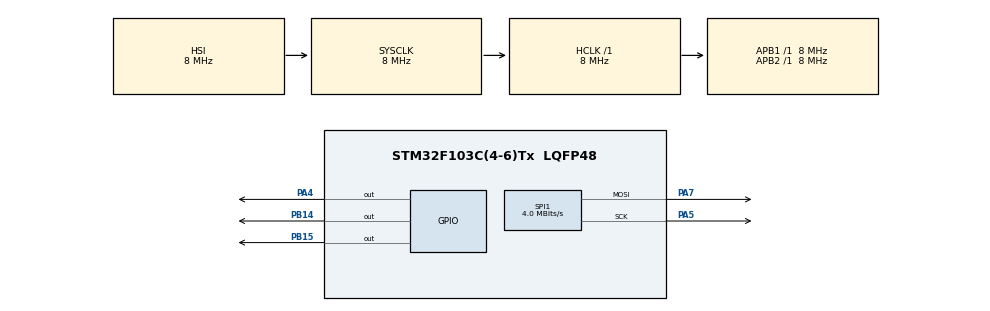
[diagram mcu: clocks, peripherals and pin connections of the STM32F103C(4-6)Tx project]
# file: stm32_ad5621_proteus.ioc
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Mcu.Family=STM32F1
Mcu.Name=STM32F103C(4-6)Tx
Mcu.Package=LQFP48
NVIC.PriorityGroup=NVIC_PRIORITYGROUP_4
PA13.Mode=Serial_Wire
PA13.Signal=SYS_JTMS-SWDIO
PA14.Mode=Serial_Wire
PA14.Signal=SYS_JTCK-SWCLK
PA4.Signal=GPIO_Output
PA5.Mode=TX_Only_Simplex_Unidirect_Master
PA5.Signal=SPI1_SCK
PA7.Mode=TX_Only_Simplex_Unidirect_Master
PA7.Signal=SPI1_MOSI
PB14.Signal=GPIO_Output
PB15.Signal=GPIO_Output
PD0-OSC_IN.Mode=HSE-External-Oscillator
PD0-OSC_IN.Signal=RCC_OSC_IN
PD1-OSC_OUT.Mode=HSE-External-Oscillator
PD1-OSC_OUT.Signal=RCC_OSC_OUT
ProjectManager.HeapSize=0x200
ProjectManager.StackSize=0x400
ProjectManager.TargetToolchain=STM32CubeIDE
RCC.AHBFreq_Value=8000000
RCC.APB1Freq_Value=8000000
RCC.APB1TimFreq_Value=8000000
RCC.APB2Freq_Value=8000000
RCC.APB2TimFreq_Value=8000000
RCC.HCLKFreq_Value=8000000
RCC.SYSCLKFreq_VALUE=8000000
RCC.USBFreq_Value=8000000
SPI1.BaudRatePrescaler=SPI_BAUDRATEPRESCALER_2
SPI1.CalculateBaudRate=4.0 MBits/s
SPI1.DataSize=SPI_DATASIZE_16BIT
SPI1.Direction=SPI_DIRECTION_2LINES
SPI1.Mode=SPI_MODE_MASTER
SPI1.VirtualType=VM_MASTER
board=custom

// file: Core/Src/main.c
/* USER CODE BEGIN Header */
/**
  ******************************************************************************
  * @file           : main.c
  * @brief          : Main program body
  ******************************************************************************
  * @attention
  *
  * Copyright (c) 2024 STMicroelectronics.
  * All rights reserved.
  *
  * This software is licensed under terms that can be found in the LICENSE file
  * in the root directory of this software component.
  * If no LICENSE file comes with this software, it is provided AS-IS.
  *
  ******************************************************************************
  */
/* USER CODE END Header */
#include "main.h"

/* USER CODE BEGIN Includes */

#include "AD5621.h"
#include "math.h"

communication_status_e status_AD5621;
uint16_t DAC_data;

#define DAC_RESOLUTION 4095
#define SINE_POINTS 360

uint16_t sine_points[SINE_POINTS];
float radian_value;
uint16_t points = SINE_POINTS;

/* USER CODE END Includes */

SPI_HandleTypeDef hspi1;

void SystemClock_Config(void);
static void MX_GPIO_Init(void);
static void MX_SPI1_Init(void);

int main(void)
{

  /* MCU Configuration--------------------------------------------------------*/

  /* Reset of all peripherals, Initializes the Flash interface and the Systick. */
  HAL_Init();

  /* Configure the system clock */
  SystemClock_Config();

  /* Initialize all configured peripherals */
  MX_GPIO_Init();
  MX_SPI1_Init();
  /* USER CODE BEGIN 2 */

  status_AD5621 = checkCommunication_AD5621(&hspi1);

  if(status_AD5621)
  {
	  HAL_GPIO_WritePin(GPIOB,GPIO_PIN_15,GPIO_PIN_SET);
  }

  for (int i = 0; i < points; i++)
  {
      radian_value = (float)i * 2.0f * M_PI / (float)points;
      sine_points[i] = (uint16_t)round(((sinf(radian_value) + 1.0f) / 2.0f) * DAC_RESOLUTION);
  }

  /* USER CODE END 2 */

  /* Infinite loop */
  while (1)
  {

    /* USER CODE BEGIN 3 */
//	  DAC_data = 0xFFF << 2;
//	  SPI_Write_AD5621(&hspi1, DAC_data);
//	  HAL_Delay(4000);
//
//	  DAC_data = DAC_data / 2;
//	  SPI_Write_AD5621(&hspi1, DAC_data);
//	  HAL_Delay(4000);
//
//	  DAC_data = 0x00 << 2;
//	  SPI_Write_AD5621(&hspi1, DAC_data);
//	  HAL_Delay(4000);

	  for(int i = 0;i < 360;i++)
	  {
		  SPI_Write_AD5621(&hspi1, sine_points[i]);
		  HAL_Delay(1);
	  }

  }
  /* USER CODE END 3 */
}

void SystemClock_Config(void)
{
  RCC_OscInitTypeDef RCC_OscInitStruct = {0};
  RCC_ClkInitTypeDef RCC_ClkInitStruct = {0};

  /** Initializes the RCC Oscillators according to the specified parameters
  * in the RCC_OscInitTypeDef structure.
  */
  RCC_OscInitStruct.OscillatorType = RCC_OSCILLATORTYPE_HSI;
  RCC_OscInitStruct.HSIState = RCC_HSI_ON;
  RCC_OscInitStruct.HSICalibrationValue = RCC_HSICALIBRATION_DEFAULT;
  RCC_OscInitStruct.PLL.PLLState = RCC_PLL_NONE;
  if (HAL_RCC_OscConfig(&RCC_OscInitStruct) != HAL_OK)
  {
    Error_Handler();
  }

  /** Initializes the CPU, AHB and APB buses clocks
  */
  RCC_ClkInitStruct.ClockType = RCC_CLOCKTYPE_HCLK|RCC_CLOCKTYPE_SYSCLK
                              |RCC_CLOCKTYPE_PCLK1|RCC_CLOCKTYPE_PCLK2;
  RCC_ClkInitStruct.SYSCLKSource = RCC_SYSCLKSOURCE_HSI;
  RCC_ClkInitStruct.AHBCLKDivider = RCC_SYSCLK_DIV1;
  RCC_ClkInitStruct.APB1CLKDivider = RCC_HCLK_DIV1;
  RCC_ClkInitStruct.APB2CLKDivider = RCC_HCLK_DIV1;

  if (HAL_RCC_ClockConfig(&RCC_ClkInitStruct, FLASH_LATENCY_0) != HAL_OK)
  {
    Error_Handler();
  }
}

static void MX_SPI1_Init(void)
{

  /* SPI1 parameter configuration*/
  hspi1.Instance = SPI1;
  hspi1.Init.Mode = SPI_MODE_MASTER;
  hspi1.Init.Direction = SPI_DIRECTION_2LINES;
  hspi1.Init.DataSize = SPI_DATASIZE_16BIT;
  hspi1.Init.CLKPolarity = SPI_POLARITY_LOW;
  hspi1.Init.CLKPhase = SPI_PHASE_1EDGE;
  hspi1.Init.NSS = SPI_NSS_SOFT;
  hspi1.Init.BaudRatePrescaler = SPI_BAUDRATEPRESCALER_2;
  hspi1.Init.FirstBit = SPI_FIRSTBIT_MSB;
  hspi1.Init.TIMode = SPI_TIMODE_DISABLE;
  hspi1.Init.CRCCalculation = SPI_CRCCALCULATION_DISABLE;
  hspi1.Init.CRCPolynomial = 10;
  if (HAL_SPI_Init(&hspi1) != HAL_OK)
  {
    Error_Handler();
  }

}

static void MX_GPIO_Init(void)
{
  GPIO_InitTypeDef GPIO_InitStruct = {0};

  /* GPIO Ports Clock Enable */
  __HAL_RCC_GPIOD_CLK_ENABLE();
  __HAL_RCC_GPIOA_CLK_ENABLE();
  __HAL_RCC_GPIOB_CLK_ENABLE();

  /*Configure GPIO pin Output Level */
  HAL_GPIO_WritePin(GPIOA, GPIO_PIN_4, GPIO_PIN_RESET);

  /*Configure GPIO pin Output Level */
  HAL_GPIO_WritePin(GPIOB, GPIO_PIN_14|GPIO_PIN_15, GPIO_PIN_RESET);

  /*Configure GPIO pin : PA4 */
  GPIO_InitStruct.Pin = GPIO_PIN_4;
  GPIO_InitStruct.Mode = GPIO_MODE_OUTPUT_PP;
  GPIO_InitStruct.Pull = GPIO_NOPULL;
  GPIO_InitStruct.Speed = GPIO_SPEED_FREQ_LOW;
  HAL_GPIO_Init(GPIOA, &GPIO_InitStruct);

  /*Configure GPIO pins : PB14 PB15 */
  GPIO_InitStruct.Pin = GPIO_PIN_14|GPIO_PIN_15;
  GPIO_InitStruct.Mode = GPIO_MODE_OUTPUT_PP;
  GPIO_InitStruct.Pull = GPIO_NOPULL;
  GPIO_InitStruct.Speed = GPIO_SPEED_FREQ_LOW;
  HAL_GPIO_Init(GPIOB, &GPIO_InitStruct);

}

void Error_Handler(void)
{
  __disable_irq();
  while (1)
  {
  }
}
